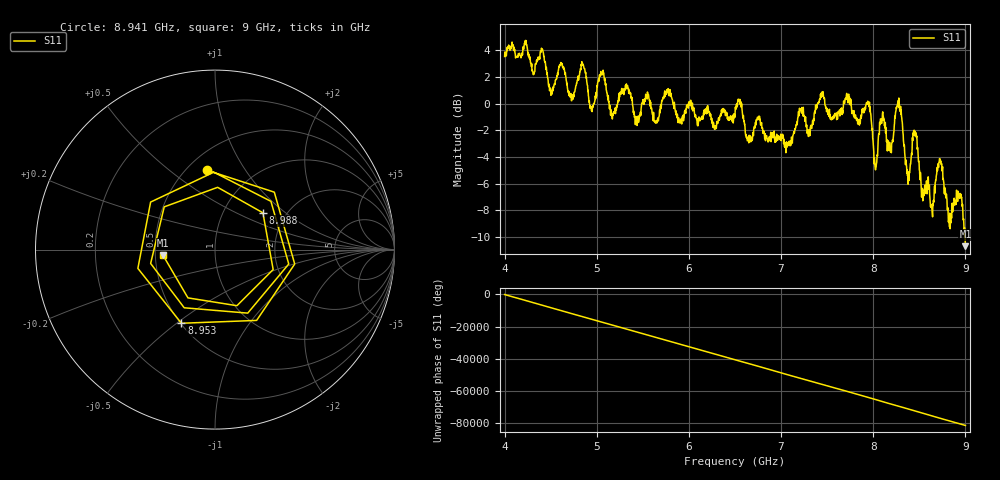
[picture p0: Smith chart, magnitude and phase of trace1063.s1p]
! Created with skrf 1.8.0 (http://scikit-rf.org).
# Hz S RI R 50.0
!freq ReS11 ImS11
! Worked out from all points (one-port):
!   1601 points, 4 GHz to 9 GHz, reference 50 ohm
!   lowest |S11| = -10.7 dB at 9 GHz (marker M1), VSWR 1.83, Z = 27.4 - j1.79 ohm
!   |S11| at or under -10 dB: 8.996103 GHz to end of sweep
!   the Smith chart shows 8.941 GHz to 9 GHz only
!   S11 on the Smith chart (normalised r, x): 8.941 GHz: 0.62, +0.69; 8.953 GHz: 0.50, -0.52; 8.988 GHz: 1.53, +0.71; 9 GHz: 0.55, -0.04
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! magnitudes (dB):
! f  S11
! 4 GHz  3.5
! 4.409 GHz  4.0
! 4.506 GHz  0.9
! 4.625 GHz  3.0
! 4.725 GHz  0.2
! 4.847 GHz  2.9
! 4.941 GHz  -0.4
! 5.053 GHz  2.2
! 5.162 GHz  -0.9
! 5.25 GHz  0.8
! 5.875 GHz  -0.8
! 6.5 GHz  -1.0
! 7.125 GHz  -2.6
! 7.75 GHz  0.3
! 7.947 GHz  0.0
! 8.025 GHz  -5.0
! 8.094 GHz  -1.2
! 8.188 GHz  -3.6
! 8.278 GHz  0.4
! 8.375 GHz  -5.2
! 8.45 GHz  -2.2
! 8.634 GHz  -7.8
! 8.719 GHz  -4.1
! 8.828 GHz  -9.2
! 8.941 GHz  -7.0
! 8.953 GHz  -6.9
! 8.988 GHz  -9.5
! 9 GHz  -10.7
